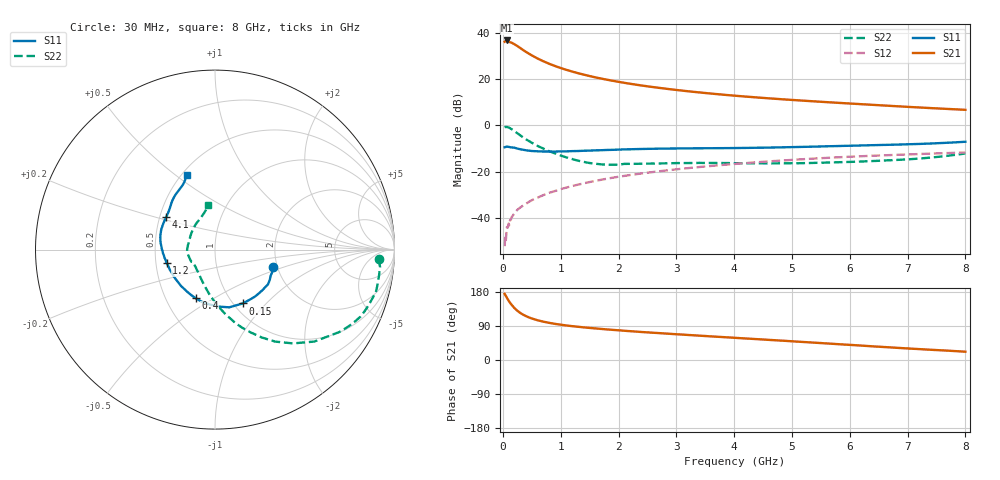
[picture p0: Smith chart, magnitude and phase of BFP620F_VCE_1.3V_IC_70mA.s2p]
! Infineon Technologies  Discrete & RF Semiconductors
! BFP620F
! VCE =  1.3 V,  IC =  70 mA
! Common Emitter S-Parameters:  Dec 2014
# GHz  S  MA  R  50
!  f  S11  S21  S12  S22
! GHz  MAG  ANG  MAG  ANG  MAG  ANG  MAG  ANG
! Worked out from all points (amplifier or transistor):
!   95 points, 30 MHz to 8 GHz, reference 50 ohm
!   highest |S21| = 36.6 dB at 70 MHz (marker M1)
!   |S21| within 3 dB of that: start of sweep to 285.3 MHz
!   unconditionally stable (mu >= 1): 1.613 GHz to end of sweep
!   at 300 MHz: K = 0.57, MSG = 34.4 dB, |S12| = -35.4 dB
!   at 3.3 GHz: K = 1.03, MAG = 15.2 dB, |S12| = -18.1 dB
!   at 8 GHz: K = 1.05, MAG = 7.8 dB, |S12| = -11.7 dB
!   S11 on the Smith chart (normalised r, x): 30 MHz: 1.90, -0.42; 150 MHz: 1.10, -0.75; 400 MHz: 0.70, -0.42; 1.2 GHz: 0.57, -0.09; 4.1 GHz: 0.54, +0.22; 8 GHz: 0.53, +0.55
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0.03  0.3394 -16.9  63.73 174.6  0.0025 99.2  0.9129 -3.2
0.05  0.3427 -25.3  66.64 169.4  0.0032 88.8  0.9252 -8.8
0.07  0.3529 -33.3  67.92 164.1  0.0065 86.4  0.9271 -14.4
0.1  0.3449 -45.6  65.06 156.4  0.0077 82.7  0.9027 -22.1
0.12  0.3405 -53.7  62.58 151.9  0.0086 82.2  0.8771 -27.1
0.15  0.3374 -62.8  60.98 145.9  0.0104 77.1  0.8316 -33.5
0.2  0.3312 -76.2  56.22 137.0  0.0128 72.9  0.7541 -42.8
0.25  0.3178 -86.9  51.49 130.0  0.0152 72.5  0.6793 -50.3
0.3  0.3068 -95.9  46.73 124.3  0.017 69.8  0.6125 -56.8
0.35  0.2996 -104.6  42.21 119.6  0.0188 70.4  0.5544 -62.0
0.4  0.2913 -111.8  38.52 115.8  0.0205 69.4  0.5022 -66.7
0.5  0.2814 -123.2  32.36 109.6  0.0245 68.7  0.4244 -74.5
0.7  0.274 -140.4  24.18 101.1  0.0315 69.4  0.3168 -86.8
0.9  0.2735 -152.1  19.13 95.4  0.0385 69.6  0.2497 -97.4
1.2  0.2798 -164.5  14.49 89.3  0.0494 69.1  0.1886 -112.4
1.4  0.2849 -170.7  12.45 86.1  0.0566 68.7  0.1638 -123.0
1.9  0.2983 177.3  9.173 79.5  0.0748 66.6  0.142 -147.6
2.7  0.3159 163.9  6.464 71.0  0.1027 62.0  0.1515 -167.0
4.1  0.3269 146.2  4.289 57.7  0.1509 52.8  0.1533 174.8
5.4  0.3502 134.6  3.297 45.6  0.1938 43.1  0.1562 151.3
6.7  0.3834 122.9  2.644 33.3  0.2298 32.8  0.1779 126.4
8  0.4453 110.8  2.172 21.9  0.2608 23.0  0.2485 98.5
